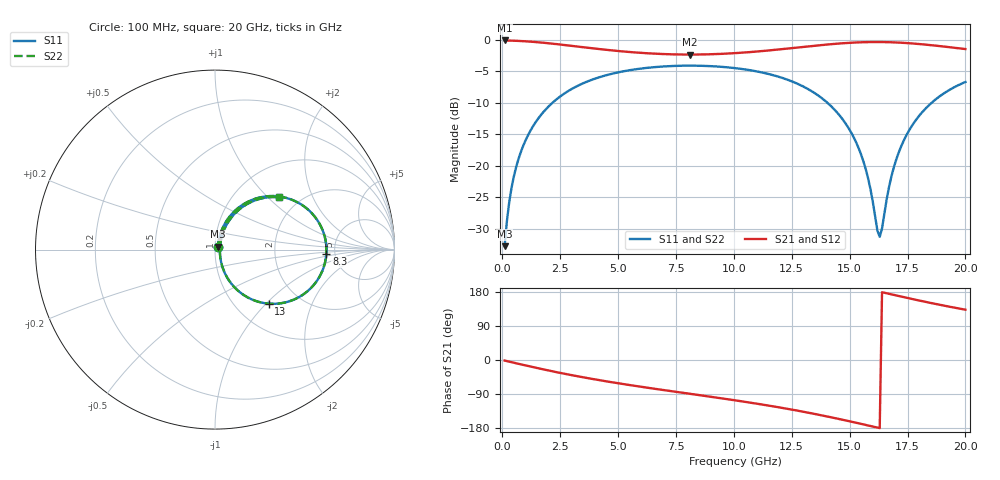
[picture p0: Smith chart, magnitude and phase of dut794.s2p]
! Touchstone file exported from HFSS 2026.1.0
!  File:  C:/ffzhzh/LocalFiles/Ansys_Project_Files/temp_train_TSV_RDL_794_1783261664_38820.aedt
!  Generated:  10:43:16 PM Jul  5, 2026
!  Design:  TSV_RDL
!  Project:  temp_train_TSV_RDL_794_1783261664_38820
! Variables:
!  h_bsmrdl = 4.99um
!  h_ox = 20um
!  h_rdl = 5um
!  h_sub = 87.18um
!  h_tmrdl = 5.92um
!  h_tsv = 87.18um
!  h_via = 3um
!  l_bsmrdl = 923.74um
!  l_sub = 3666.57um
!  l_tmrdl = 100.4um
!  m_sub = 200um
!  pitch = 52.95um
!  r_tsv = 7.41um
!  s_tmrdl = 10um
!  w_bsmrdl = 15.35um
!  w_sub = 500um
!  w_tmrdl = 15.9um
!  x_tsv_center1 = 108.35um
!  x_tsv_center2 = 1047.44um
!  x_tsv_center3 = 1163.74um
!  x_tsv_center4 = 2102.83um
!  x_tsv_center5 = 2219.13um
!  x_tsv_center6 = 3158.22um
# GHz S MA R 50.000000
! Terminal data exported
! Port[1] = TM_RDL1_1_T1
! Port[2] = TM_RDL5_1_T1
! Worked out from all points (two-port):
!   200 points, 100 MHz to 20 GHz, reference 50 ohm
!   highest |S21| = -0.14 dB at 100 MHz (marker M1); lowest = -2.4 dB at 8.1 GHz (marker M2)
!   |S21| within 3 dB of the highest: start of sweep to end of sweep
!   lowest |S11| = -32.8 dB at 100 MHz (marker M3), VSWR 1.05, Z = 51.6 + j1.67 ohm
!   |S11| at or under -10 dB: start of sweep to 2.176 GHz; 14.03 GHz to 18.55 GHz (4.519 GHz wide, 27.7 % of centre)
!   |S22| runs from -32.8 to -4.1 dB; largest |S21 - S12| = 7.9e-14
!   S11 on the Smith chart (normalised r, x): 100 MHz: 1.03, +0.03; 8.3 GHz: 4.25, -0.33; 13 GHz: 1.41, -1.03; 20 GHz: 1.58, +1.17
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0.1  0.02294 44.7  0.984 -1.5  0.984 -1.5  0.02294 44.7
! Gamma 0 0 0 0
! Port Impedance 50 0 50 0
0.3  0.05134 67.1  0.9821 -4.4  0.9821 -4.4  0.05134 67.1
0.5  0.08218 70.9  0.9793 -7.2  0.9793 -7.2  0.08218 70.9
1.1  0.1726 68.1  0.9664 -15.7  0.9664 -15.7  0.1726 68.1
2.1  0.3071 57.1  0.9308 -29.0  0.9308 -29.0  0.3071 57.1
3.5  0.4508 41.3  0.8695 -45.8  0.8695 -45.8  0.4508 41.3
6.8  0.609 10.3  0.7696 -77.9  0.7696 -77.9  0.609 10.3
8.1  0.621 -0.6  0.7605 -89.2  0.7605 -89.2  0.621 -0.6
8.3  0.6207 -2.2  0.7607 -90.9  0.7607 -90.9  0.6207 -2.2
10.1  0.5924 -17.5  0.7815 -106.8  0.7815 -106.8  0.5924 -17.5
13  0.424 -45.3  0.8748 -136.5  0.8748 -136.5  0.424 -45.3
13.4  0.3855 -49.5  0.8904 -141.2  0.8904 -141.2  0.3855 -49.5
14.5  0.2588 -61.0  0.9292 -155.1  0.9292 -155.1  0.2588 -61.0
15.3  0.1502 -67.1  0.9488 -165.8  0.9488 -165.8  0.1502 -67.1
15.8  0.079 -64.2  0.9551 -172.8  0.9551 -172.8  0.07902 -64.1
16.2  0.03052 -26.8  0.9565 -178.3  0.9565 -178.3  0.03062 -26.7
16.3  0.02721 1.5  0.9563 -179.7  0.9563 -179.7  0.02734 1.6
16.7  0.0674 59.6  0.9532 174.7  0.9532 174.7  0.06747 59.6
17.2  0.1384 65.3  0.9448 167.7  0.9448 167.7  0.1384 65.3
17.9  0.2349 60.8  0.9254 158.3  0.9254 158.3  0.2349 60.8
18.8  0.3449 51.7  0.8916 146.8  0.8916 146.8  0.3449 51.7
20  0.4607 39.3  0.8412 132.8  0.8412 132.8  0.4607 39.3
